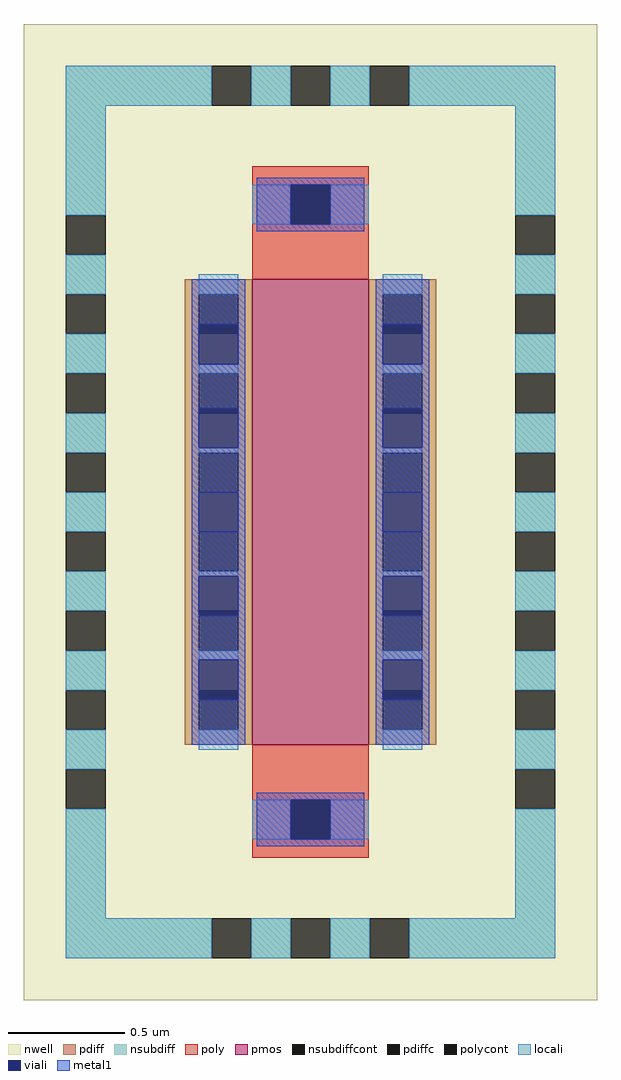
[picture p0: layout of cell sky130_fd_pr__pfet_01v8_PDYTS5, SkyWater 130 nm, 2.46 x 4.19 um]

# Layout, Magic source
magic
tech sky130A
magscale 1 2
<< nwell >>
rect -246 -419 246 419
<< pmos >>
rect -50 -200 50 200
<< pdiff >>
rect -108 187 -50 200
rect -108 153 -96 187
rect -62 153 -50 187
rect -108 119 -50 153
rect -108 85 -96 119
rect -62 85 -50 119
rect -108 51 -50 85
rect -108 17 -96 51
rect -62 17 -50 51
rect -108 -17 -50 17
rect -108 -51 -96 -17
rect -62 -51 -50 -17
rect -108 -85 -50 -51
rect -108 -119 -96 -85
rect -62 -119 -50 -85
rect -108 -153 -50 -119
rect -108 -187 -96 -153
rect -62 -187 -50 -153
rect -108 -200 -50 -187
rect 50 187 108 200
rect 50 153 62 187
rect 96 153 108 187
rect 50 119 108 153
rect 50 85 62 119
rect 96 85 108 119
rect 50 51 108 85
rect 50 17 62 51
rect 96 17 108 51
rect 50 -17 108 17
rect 50 -51 62 -17
rect 96 -51 108 -17
rect 50 -85 108 -51
rect 50 -119 62 -85
rect 96 -119 108 -85
rect 50 -153 108 -119
rect 50 -187 62 -153
rect 96 -187 108 -153
rect 50 -200 108 -187
<< pdiffc >>
rect -96 153 -62 187
rect -96 85 -62 119
rect -96 17 -62 51
rect -96 -51 -62 -17
rect -96 -119 -62 -85
rect -96 -187 -62 -153
rect 62 153 96 187
rect 62 85 96 119
rect 62 17 96 51
rect 62 -51 96 -17
rect 62 -119 96 -85
rect 62 -187 96 -153
<< nsubdiff >>
rect -210 349 -85 383
rect -51 349 -17 383
rect 17 349 51 383
rect 85 349 210 383
rect -210 255 -176 349
rect -210 187 -176 221
rect 176 255 210 349
rect -210 119 -176 153
rect -210 51 -176 85
rect -210 -17 -176 17
rect -210 -85 -176 -51
rect -210 -153 -176 -119
rect -210 -221 -176 -187
rect 176 187 210 221
rect 176 119 210 153
rect 176 51 210 85
rect 176 -17 210 17
rect 176 -85 210 -51
rect 176 -153 210 -119
rect -210 -349 -176 -255
rect 176 -221 210 -187
rect 176 -349 210 -255
rect -210 -383 -85 -349
rect -51 -383 -17 -349
rect 17 -383 51 -349
rect 85 -383 210 -349
<< nsubdiffcont >>
rect -85 349 -51 383
rect -17 349 17 383
rect 51 349 85 383
rect -210 221 -176 255
rect 176 221 210 255
rect -210 153 -176 187
rect -210 85 -176 119
rect -210 17 -176 51
rect -210 -51 -176 -17
rect -210 -119 -176 -85
rect -210 -187 -176 -153
rect 176 153 210 187
rect 176 85 210 119
rect 176 17 210 51
rect 176 -51 210 -17
rect 176 -119 210 -85
rect 176 -187 210 -153
rect -210 -255 -176 -221
rect 176 -255 210 -221
rect -85 -383 -51 -349
rect -17 -383 17 -349
rect 51 -383 85 -349
<< poly >>
rect -50 281 50 297
rect -50 247 -17 281
rect 17 247 50 281
rect -50 200 50 247
rect -50 -247 50 -200
rect -50 -281 -17 -247
rect 17 -281 50 -247
rect -50 -297 50 -281
<< polycont >>
rect -17 247 17 281
rect -17 -281 17 -247
<< locali >>
rect -210 349 -85 383
rect -51 349 -17 383
rect 17 349 51 383
rect 85 349 210 383
rect -210 255 -176 349
rect -50 247 -17 281
rect 17 247 50 281
rect 176 255 210 349
rect -210 187 -176 221
rect -210 119 -176 153
rect -210 51 -176 85
rect -210 -17 -176 17
rect -210 -85 -176 -51
rect -210 -153 -176 -119
rect -210 -221 -176 -187
rect -96 187 -62 204
rect -96 119 -62 127
rect -96 51 -62 55
rect -96 -55 -62 -51
rect -96 -127 -62 -119
rect -96 -204 -62 -187
rect 62 187 96 204
rect 62 119 96 127
rect 62 51 96 55
rect 62 -55 96 -51
rect 62 -127 96 -119
rect 62 -204 96 -187
rect 176 187 210 221
rect 176 119 210 153
rect 176 51 210 85
rect 176 -17 210 17
rect 176 -85 210 -51
rect 176 -153 210 -119
rect 176 -221 210 -187
rect -210 -349 -176 -255
rect -50 -281 -17 -247
rect 17 -281 50 -247
rect 176 -349 210 -255
rect -210 -383 -85 -349
rect -51 -383 -17 -349
rect 17 -383 51 -349
rect 85 -383 210 -349
<< viali >>
rect -17 247 17 281
rect -96 153 -62 161
rect -96 127 -62 153
rect -96 85 -62 89
rect -96 55 -62 85
rect -96 -17 -62 17
rect -96 -85 -62 -55
rect -96 -89 -62 -85
rect -96 -153 -62 -127
rect -96 -161 -62 -153
rect 62 153 96 161
rect 62 127 96 153
rect 62 85 96 89
rect 62 55 96 85
rect 62 -17 96 17
rect 62 -85 96 -55
rect 62 -89 96 -85
rect 62 -153 96 -127
rect 62 -161 96 -153
rect -17 -281 17 -247
<< metal1 >>
rect -46 281 46 287
rect -46 247 -17 281
rect 17 247 46 281
rect -46 241 46 247
rect -102 161 -56 200
rect -102 127 -96 161
rect -62 127 -56 161
rect -102 89 -56 127
rect -102 55 -96 89
rect -62 55 -56 89
rect -102 17 -56 55
rect -102 -17 -96 17
rect -62 -17 -56 17
rect -102 -55 -56 -17
rect -102 -89 -96 -55
rect -62 -89 -56 -55
rect -102 -127 -56 -89
rect -102 -161 -96 -127
rect -62 -161 -56 -127
rect -102 -200 -56 -161
rect 56 161 102 200
rect 56 127 62 161
rect 96 127 102 161
rect 56 89 102 127
rect 56 55 62 89
rect 96 55 102 89
rect 56 17 102 55
rect 56 -17 62 17
rect 96 -17 102 17
rect 56 -55 102 -17
rect 56 -89 62 -55
rect 96 -89 102 -55
rect 56 -127 102 -89
rect 56 -161 62 -127
rect 96 -161 102 -127
rect 56 -200 102 -161
rect -46 -247 46 -241
rect -46 -281 -17 -247
rect 17 -281 46 -247
rect -46 -287 46 -281
<< properties >>
string FIXED_BBOX -193 -366 193 366
<< end >>
